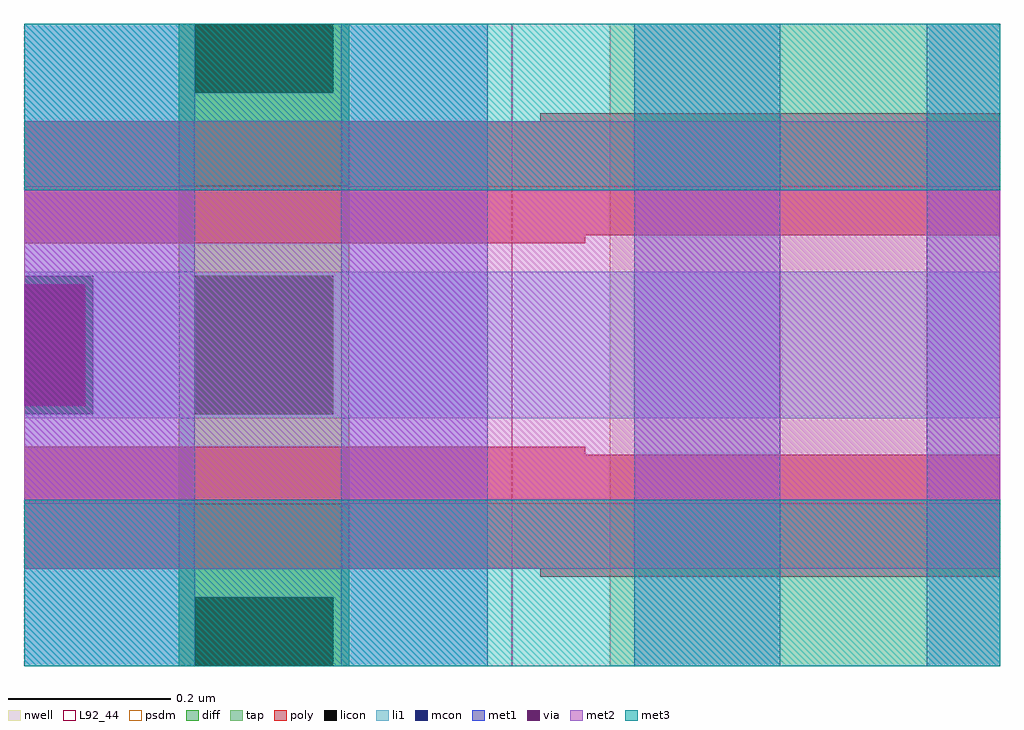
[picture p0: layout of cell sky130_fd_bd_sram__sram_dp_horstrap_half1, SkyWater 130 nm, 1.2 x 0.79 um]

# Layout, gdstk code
import gdstk
lib = gdstk.Library(unit=1e-6, precision=1e-09)
def R(c, l, rs):  # rectangles x0, y0, x1, y1
    for r in rs: c.add(gdstk.rectangle(r[:2], r[2:], *l))
def P(c, l, *ps):  # polygons
    for p in ps: c.add(gdstk.Polygon(p, *l))
nwell = (64, 20)
diff = (65, 20)
tap = (65, 44)
poly = (66, 20)
licon = (66, 44)
li1 = (67, 20)
mcon = (67, 44)
met1 = (68, 20)
via = (68, 44)
met2 = (69, 20)
met3 = (70, 20)
L92_44 = (92, 44)
psdm = (94, 20)

sky130_fd_bd_sram__sram_ = lib.new_cell('sky130_fd_bd_sram__sram_dp_cell_half_wl')
P(sky130_fd_bd_sram__sram_, poly, [(0.635,-0.01),(0.635,0),(0,0),(0,0.15),(0.69,0.15),(0.69,0.14),(1.2,0.14),(1.2,-0.01)])

c_sky130_fd_bd_sram__sram_ = lib.new_cell('sky130_fd_bd_sram__sram_dp_horstrap_h')
R(c_sky130_fd_bd_sram__sram_, nwell, [(0.72,0,1.2,0.79)])
R(c_sky130_fd_bd_sram__sram_, diff, [(0.19,0,0.4,0.2), (0.19,0.59,0.4,0.79)])
R(c_sky130_fd_bd_sram__sram_, tap, [(0.19,0.2,0.4,0.59)])
R(c_sky130_fd_bd_sram__sram_, licon, [(0.21,0,0.38,0.085), (0.21,0.31,0.38,0.48), (0.21,0.705,0.38,0.79)])
R(c_sky130_fd_bd_sram__sram_, li1, [(0,0.305,0.525,0.485), (0.525,0.305,1.2,0.485)])
R(c_sky130_fd_bd_sram__sram_, met3, [(0,0,1.2,0.205), (0,0.585,1.2,0.79)])
R(c_sky130_fd_bd_sram__sram_, L92_44, [(0,0,0.6,0.79)])
R(c_sky130_fd_bd_sram__sram_, psdm, [(0.06,0.2,1.2,0.59)])
c_sky130_fd_bd_sram__sram_.add(gdstk.Reference(sky130_fd_bd_sram__sram_, (0,0.12)))
c_sky130_fd_bd_sram__sram_.add(gdstk.Reference(sky130_fd_bd_sram__sram_, (0,0.67), x_reflection=True))

c_sky130_fd_bd_sram__sram__ = lib.new_cell('sky130_fd_bd_sram__sram_dp_horstrap_half')
R(c_sky130_fd_bd_sram__sram__, mcon, [(0,0.31,0.085,0.48)])
R(c_sky130_fd_bd_sram__sram__, met1, [(0.39,0,0.57,0.79), (0.75,0,0.93,0.79), (1.11,0,1.2,0.79), (0,0.205,0.21,0.585)])
R(c_sky130_fd_bd_sram__sram__, met2, [(0,0.12,1.2,0.67)])
c_sky130_fd_bd_sram__sram__.add(gdstk.Reference(c_sky130_fd_bd_sram__sram_, (0,0)))

c_sky130_fd_bd_sram__sram___ = lib.new_cell('sky130_fd_bd_sram__sram_dp_horstrap_half1')
R(c_sky130_fd_bd_sram__sram___, mcon, [(0,0.31,0.085,0.48)])
R(c_sky130_fd_bd_sram__sram___, met1, [(0,0,0.21,0.205), (0,0.585,0.21,0.79)])
R(c_sky130_fd_bd_sram__sram___, via, [(0,0.32,0.075,0.47)])
R(c_sky130_fd_bd_sram__sram___, psdm, [(0,0.2,0.06,0.59)])
c_sky130_fd_bd_sram__sram___.add(gdstk.Reference(c_sky130_fd_bd_sram__sram__, (0,0)))

lib.write_gds('sky130_fd_bd_sram__sram_dp_horstrap_half1.gds')
